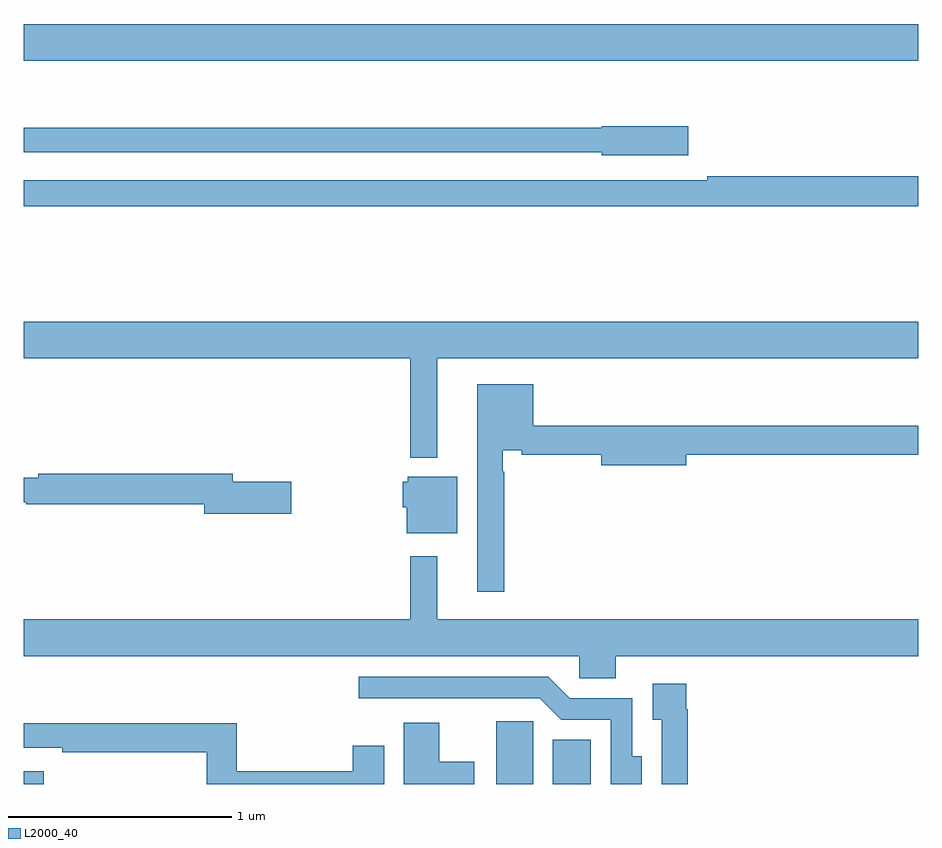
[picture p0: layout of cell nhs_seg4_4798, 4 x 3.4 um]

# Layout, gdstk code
import gdstk
lib = gdstk.Library(unit=1e-6, precision=1e-09)
def R(c, l, rs):  # rectangles x0, y0, x1, y1
    for r in rs: c.add(gdstk.rectangle(r[:2], r[2:], *l))
def P(c, l, *ps):  # polygons
    for p in ps: c.add(gdstk.Polygon(p, *l))
L2000_40 = (2000, 40)

nhs_seg4_4798 = lib.new_cell('nhs_seg4_4798')
R(nhs_seg4_4798, L2000_40, [(369,810.9,369.089,810.958), (371.114,810.9,371.278,811.18), (371.366,810.9,371.536,811.099), (369,814.136,373,814.3)])
P(nhs_seg4_4798, L2000_40, [(371.971,813.843),(371.586,813.843),(371.586,813.835),(369,813.835),(369,813.726),(371.586,813.726),(371.586,813.713),(371.971,813.713)],
  [(373,813.62),(372.058,813.62),(372.058,813.6),(369,813.6),(369,813.484),(373,813.484)],
  [(370.849,812.804),(373,812.804),(373,812.968),(369,812.968),(369,812.804),(370.728,812.804),(370.728,812.36),(370.849,812.36)],
  [(371.149,812.297),(371.141,812.297),(371.141,812.394),(371.227,812.394),(371.227,812.374),(371.582,812.374),(371.582,812.327),(371.962,812.327),(371.962,812.374),(373,812.374),(373,812.503),(371.278,812.503),(371.278,812.689),(371.027,812.689),(371.027,811.761),(371.149,811.761)],
  [(370.195,812.252),(369.934,812.252),(369.934,812.288),(369.064,812.288),(369.064,812.269),(369,812.269),(369,812.16),(369.01,812.16),(369.01,812.152),(369.806,812.152),(369.806,812.11),(370.195,812.11)],
  [(370.939,812.275),(370.716,812.275),(370.716,812.253),(370.694,812.253),(370.694,812.139),(370.712,812.139),(370.712,812.021),(370.939,812.021)],
  [(371.648,811.472),(373,811.472),(373,811.636),(370.849,811.636),(370.849,811.918),(370.728,811.918),(370.728,811.636),(369,811.636),(369,811.472),(371.484,811.472),(371.484,811.374),(371.648,811.374)],
  [(371.764,811.024),(371.722,811.024),(371.722,811.284),(371.442,811.284),(371.346,811.38),(370.497,811.38),(370.497,811.284),(371.307,811.284),(371.403,811.188),(371.625,811.188),(371.625,810.9),(371.764,810.9)],
  [(371.969,811.235),(371.962,811.235),(371.962,811.348),(371.813,811.348),(371.813,811.187),(371.853,811.187),(371.853,810.9),(371.969,810.9)],
  [(371.014,811),(370.858,811),(370.858,811.174),(370.7,811.174),(370.7,810.9),(371.014,810.9)],
  [(370.612,811.072),(370.472,811.072),(370.472,810.956),(369.953,810.956),(369.953,811.171),(369,811.171),(369,811.062),(369.172,811.062),(369.172,811.042),(369.817,811.042),(369.817,810.9),(370.612,810.9)])

lib.write_gds('nhs_seg4_4798.gds')
